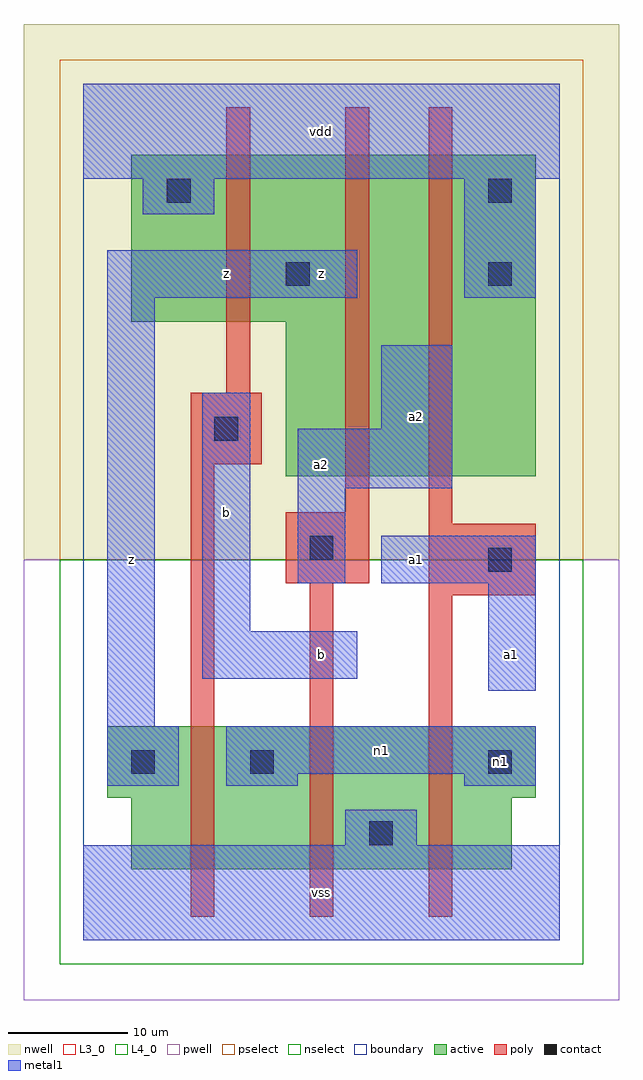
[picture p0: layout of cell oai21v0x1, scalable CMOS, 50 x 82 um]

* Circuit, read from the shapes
.subckt oai21v0x1 a1 a2 b n1 vdd vss z
M1 n1 b z VSUBS nfet w=12u l=2u
M2 vss a2 n1 VSUBS nfet w=12u l=2u
M3 n1 a1 vss VSUBS nfet w=12u l=2u
M4 z b vdd n2 pfet w=14u l=2u
M5 n3 a2 z n2 pfet w=27u l=2u
M6 vdd a1 n3 n2 pfet w=27u l=2u
.ends

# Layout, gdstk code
import gdstk
lib = gdstk.Library(unit=1e-6, precision=1e-09)
def R(c, l, rs):  # rectangles x0, y0, x1, y1
    for r in rs: c.add(gdstk.rectangle(r[:2], r[2:], *l))
L3_0 = (3, 0)
L4_0 = (4, 0)
contact = (25, 0)
pwell = (41, 0)
nwell = (42, 0)
active = (43, 0)
pselect = (44, 0)
nselect = (45, 0)
poly = (46, 0)
metal1 = (49, 0)
boundary = (63, 0)

oai21v0x1 = lib.new_cell('oai21v0x1')
R(oai21v0x1, L3_0, [(4,6,36,12), (2,12,38,18)])
R(oai21v0x1, L4_0, [(17,39,38,52), (4,52,38,66)])
R(oai21v0x1, contact, [(24,8,26,10), (4,14,6,16), (14,14,16,16), (34,14,36,16), (34,31,36,33), (19,32,21,34), (11,42,13,44), (17,55,19,57), (34,55,36,57), (7,62,9,64), (34,62,36,64)])
R(oai21v0x1, pwell, [(-5,-5,45,32)])
R(oai21v0x1, nwell, [(-5,32,45,77)])
R(oai21v0x1, active, [(4,6,36,12), (2,12,38,18), (17,39,38,52), (4,52,38,66)])
R(oai21v0x1, pselect, [(-2,32,42,74)])
R(oai21v0x1, nselect, [(-2,-2,42,32)])
R(oai21v0x1, poly, [(9,2,11,40), (19,2,21,30), (29,2,31,29), (29,29,38,35), (17,30,24,36), (29,35,31,70), (22,36,24,70), (9,40,15,46), (12,46,14,70)])
R(oai21v0x1, metal1, [(0,0,40,8), (22,8,28,11), (2,13,8,18), (12,13,18,14), (32,13,38,14), (12,14,38,18), (2,18,6,54), (34,21,38,30), (10,22,23,26), (10,26,14,46), (18,30,22,38), (25,30,38,34), (18,38,31,43), (25,43,31,50), (2,54,23,58), (32,54,38,64), (5,61,11,64), (0,64,40,72)])
R(oai21v0x1, boundary, [(0,0,40,72)])
oai21v0x1.add(gdstk.Label('n1', (25,16), layer=49, texttype=0))
oai21v0x1.add(gdstk.Label('n1', (35,15), layer=49, texttype=0))
oai21v0x1.add(gdstk.Label('z', (4,32), layer=49, texttype=0))
oai21v0x1.add(gdstk.Label('b', (12,36), layer=49, texttype=0))
oai21v0x1.add(gdstk.Label('z', (12,56), layer=49, texttype=0))
oai21v0x1.add(gdstk.Label('vss', (20,4), layer=49, texttype=0))
oai21v0x1.add(gdstk.Label('b', (20,24), layer=49, texttype=0))
oai21v0x1.add(gdstk.Label('a1', (28,32), layer=49, texttype=0))
oai21v0x1.add(gdstk.Label('a2', (20,40), layer=49, texttype=0))
oai21v0x1.add(gdstk.Label('a2', (28,44), layer=49, texttype=0))
oai21v0x1.add(gdstk.Label('z', (20,56), layer=49, texttype=0))
oai21v0x1.add(gdstk.Label('vdd', (20,68), layer=49, texttype=0))
oai21v0x1.add(gdstk.Label('a1', (36,24), layer=49, texttype=0))

lib.write_gds('oai21v0x1.gds')
